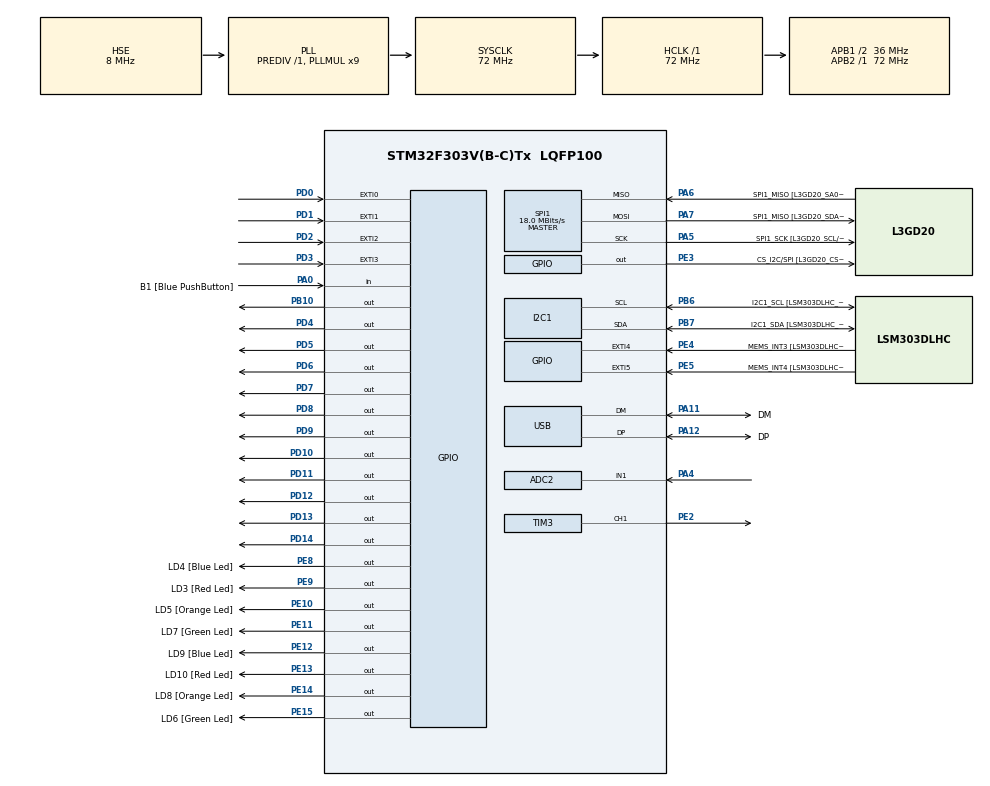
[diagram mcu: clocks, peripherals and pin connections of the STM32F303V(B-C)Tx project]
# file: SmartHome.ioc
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ADC2.Channel-0\#ChannelRegularConversion=ADC_CHANNEL_1
ADC2.NbrOfConversionFlag=1
ADC2.Offset-0\#ChannelRegularConversion=0
ADC2.OffsetNumber-0\#ChannelRegularConversion=ADC_OFFSET_NONE
ADC2.Rank-0\#ChannelRegularConversion=1
ADC2.SamplingTime-0\#ChannelRegularConversion=ADC_SAMPLETIME_601CYCLES_5
ADC2.SamplingTimeOPAMP-0\#ChannelRegularConversion=ADC_SAMPLETIME_61CYCLES_5
FREERTOS.Tasks01=defaultTask,0,128,StartDefaultTask,Default,NULL,Dynamic,NULL,NULL
I2C1.Timing-I2C=0x2000090E
Mcu.Family=STM32F3
Mcu.Name=STM32F303V(B-C)Tx
Mcu.Package=LQFP100
NVIC.ADC1_2_IRQn=true\:5\:0\:false\:false\:true\:true\:true\:true\:true
NVIC.EXTI0_IRQn=true\:5\:0\:false\:false\:true\:true\:true\:true\:true
NVIC.EXTI1_IRQn=true\:5\:0\:false\:false\:true\:true\:true\:true\:true
NVIC.EXTI2_TSC_IRQn=true\:5\:0\:false\:false\:true\:true\:true\:true\:true
NVIC.EXTI3_IRQn=true\:5\:0\:false\:false\:true\:true\:true\:true\:true
NVIC.PriorityGroup=NVIC_PRIORITYGROUP_4
NVIC.TIM3_IRQn=true\:5\:0\:false\:false\:true\:true\:true\:true\:true
PA0.GPIO_Label=B1 [Blue PushButton]
PA0.Signal=GPIO_Input
PA11.GPIO_Label=DM
PA11.Mode=Device
PA11.Signal=USB_DM
PA12.GPIO_Label=DP
PA12.Mode=Device
PA12.Signal=USB_DP
PA13.GPIO_Label=SWDIO
PA13.Mode=Serial_Wire
PA13.Signal=SYS_JTMS-SWDIO
PA14.GPIO_Label=SWCLK
PA14.Mode=Serial_Wire
PA14.Signal=SYS_JTCK-SWCLK
PA4.Mode=IN1-Single-Ended
PA4.Signal=ADC2_IN1
PA5.GPIO_Label=SPI1_SCK [L3GD20_SCL/SPC]
PA5.Mode=Full_Duplex_Master
PA5.Signal=SPI1_SCK
PA6.GPIO_Label=SPI1_MISO [L3GD20_SA0/SDO]
PA6.Mode=Full_Duplex_Master
PA6.Signal=SPI1_MISO
PA7.GPIO_Label=SPI1_MISO [L3GD20_SDA/SDI/SDO]
PA7.Mode=Full_Duplex_Master
PA7.Signal=SPI1_MOSI
PB10.Signal=GPIO_Output
PB3.GPIO_Label=SWO
PB3.Signal=SYS_JTDO-TRACESWO
PB6.GPIO_Label=I2C1_SCL [LSM303DLHC_SCL]
PB6.GPIO_Pu=GPIO_PULLUP
PB6.Mode=I2C
PB6.Signal=I2C1_SCL
PB7.GPIO_Label=I2C1_SDA [LSM303DLHC_SDA]
PB7.GPIO_Pu=GPIO_PULLUP
PB7.Mode=I2C
PB7.Signal=I2C1_SDA
PC14-OSC32_IN.GPIO_Label=OSC32_IN
PC14-OSC32_IN.Signal=RCC_OSC32_IN
PC15-OSC32_OUT.GPIO_Label=OSC32_OUT
PC15-OSC32_OUT.Signal=RCC_OSC32_OUT
PD0.GPIO_PuPd=GPIO_PULLDOWN
PD0.Signal=GPXTI0
PD1.GPIO_PuPd=GPIO_PULLDOWN
PD1.Signal=GPXTI1
PD10.Signal=GPIO_Output
PD11.Signal=GPIO_Output
PD12.Signal=GPIO_Output
PD13.Signal=GPIO_Output
PD14.Signal=GPIO_Output
PD2.GPIO_PuPd=GPIO_PULLDOWN
PD2.Signal=GPXTI2
PD3.GPIO_PuPd=GPIO_PULLDOWN
PD3.Signal=GPXTI3
PD4.Signal=GPIO_Output
PD5.Signal=GPIO_Output
PD6.Signal=GPIO_Output
PD7.Signal=GPIO_Output
PD8.Signal=GPIO_Output
PD9.Signal=GPIO_Output
PE10.GPIO_Label=LD5 [Orange Led]
PE10.Signal=GPIO_Output
PE11.GPIO_Label=LD7 [Green Led]
PE11.Signal=GPIO_Output
PE12.GPIO_Label=LD9 [Blue Led]
PE12.Signal=GPIO_Output
PE13.GPIO_Label=LD10 [Red Led]
PE13.Signal=GPIO_Output
PE14.GPIO_Label=LD8 [Orange Led]
PE14.Signal=GPIO_Output
PE15.GPIO_Label=LD6 [Green Led]
PE15.Signal=GPIO_Output
PE2.Signal=S_TIM3_CH1
PE3.GPIO_Label=CS_I2C/SPI [L3GD20_CS_I2C/SPI]
PE3.Signal=GPIO_Output
PE4.GPIO_Label=MEMS_INT3 [LSM303DLHC_INT1]
PE4.GPIO_ModeDefaultEXTI=GPIO_MODE_EVT_RISING
PE4.Signal=GPXTI4
PE5.GPIO_Label=MEMS_INT4 [LSM303DLHC_INT2]
PE5.GPIO_ModeDefaultEXTI=GPIO_MODE_EVT_RISING
PE5.Signal=GPXTI5
PE8.GPIO_Label=LD4 [Blue Led]
PE8.Signal=GPIO_Output
PE9.GPIO_Label=LD3 [Red Led]
PE9.Signal=GPIO_Output
PF0-OSC_IN.GPIO_Label=OSC_IN
PF0-OSC_IN.Mode=HSE-External-Clock-Source
PF0-OSC_IN.Signal=RCC_OSC_IN
PF1-OSC_OUT.GPIO_Label=OSC_OUT
PF1-OSC_OUT.Signal=RCC_OSC_OUT
ProjectManager.HeapSize=0x200
ProjectManager.StackSize=0x400
ProjectManager.TargetToolchain=STM32CubeIDE
RCC.AHBFreq_Value=72000000
RCC.APB1CLKDivider=RCC_HCLK_DIV2
RCC.APB1Freq_Value=36000000
RCC.APB1TimFreq_Value=72000000
RCC.APB2Freq_Value=72000000
RCC.APB2TimFreq_Value=72000000
RCC.CortexFreq_Value=72000000
RCC.HCLKFreq_Value=72000000
RCC.HSE_VALUE=8000000
RCC.HSI_VALUE=8000000
RCC.LSE_VALUE=32768
RCC.PLLMUL=RCC_PLL_MUL9
RCC.PRESCALERUSB=RCC_USBCLKSOURCE_PLL_DIV1_5
RCC.SYSCLKFreq_VALUE=72000000
RCC.SYSCLKSourceVirtual=RCC_SYSCLKSOURCE_PLLCLK
RCC.USBFreq_Value=48000000
SH.S_TIM3_CH1.0=TIM3_CH1,PWM Generation1 CH1
SPI1.BaudRatePrescaler=SPI_BAUDRATEPRESCALER_4
SPI1.BaudRatePrescaler-Full_Duplex_Master=SPI_BAUDRATEPRESCALER_2
SPI1.CalculateBaudRate=18.0 MBits/s
SPI1.CalculateBaudRate-Full_Duplex_Master=24.0 MBits/s
SPI1.Direction=SPI_DIRECTION_2LINES
SPI1.Mode=SPI_MODE_MASTER
SPI1.Mode-Full_Duplex_Master=SPI_MODE_MASTER
SPI1.VirtualType=VM_MASTER
TIM3.Channel-PWM\ Generation1\ CH1=TIM_CHANNEL_1
VP_FREERTOS_VS_CMSIS_V1.Mode=CMSIS_V1
board=STM32F3DISCOVERY

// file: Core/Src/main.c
/* USER CODE BEGIN Header */
/**
  ******************************************************************************
  * @file           : main.c
  * @brief          : Main program body
  ******************************************************************************
  * @attention
  *
  * Copyright (c) 2023 STMicroelectronics.
  * All rights reserved.
  *
  * This software is licensed under terms that can be found in the LICENSE file
  * in the root directory of this software component.
  * If no LICENSE file comes with this software, it is provided AS-IS.
  *
  ******************************************************************************
  */
/* USER CODE END Header */
#include "main.h"
#include "cmsis_os.h"

/* USER CODE BEGIN Includes */
#include "LiquidCrystal.h"
/* USER CODE END Includes */

/* USER CODE BEGIN PTD */
#define ToneTime 2000
#define MaxSampleCount 64
/* USER CODE END PTD */

ADC_HandleTypeDef hadc2;

I2C_HandleTypeDef hi2c1;

SPI_HandleTypeDef hspi1;

TIM_HandleTypeDef htim3;

PCD_HandleTypeDef hpcd_USB_FS;

osThreadId defaultTaskHandle;
/* USER CODE BEGIN PV */
TIM_HandleTypeDef *buzzerPwmTimer;
uint32_t buzzerPwmChannel;

int playing = 0;
int volume = 500;

uint32_t temp_tresh = 28;
uint32_t period_start = 0;
uint16_t current_square_tone = 0;

uint32_t temp_data[MaxSampleCount] = { 0 };
uint32_t temp = 0;
int temp_position = 0;

int menu = 0;

int lm35_active = 1;
int pir_active = 1;
/* USER CODE END PV */

void SystemClock_Config(void);
static void MX_GPIO_Init(void);
static void MX_I2C1_Init(void);
static void MX_SPI1_Init(void);
static void MX_USB_PCD_Init(void);
static void MX_TIM3_Init(void);
static void MX_ADC2_Init(void);
void StartDefaultTask(void const * argument);

/* USER CODE BEGIN 0 */
GPIO_TypeDef *const Row_ports[] = {GPIOD, GPIOD, GPIOD, GPIOD};
const uint16_t Row_pins[] = {GPIO_PIN_0, GPIO_PIN_1, GPIO_PIN_2, GPIO_PIN_3};
GPIO_TypeDef *const Column_ports[] = {GPIOD, GPIOD, GPIOD, GPIOD};
const uint16_t Column_pins[] = {GPIO_PIN_4, GPIO_PIN_5, GPIO_PIN_6, GPIO_PIN_7};
volatile uint32_t last_gpio_exti;

void HAL_GPIO_EXTI_Callback(uint16_t GPIO_Pin)
{
  if (last_gpio_exti + 200 > HAL_GetTick()) // Simple button de-bouncing
  {
    return;
  }
  last_gpio_exti = HAL_GetTick();

  int8_t row_number = -1;
  int8_t column_number = -1;

  if (GPIO_Pin == GPIO_PIN_0)
  {
    // blue_button_pressed = 1;
    // return;
  }

  for (uint8_t row = 0; row < 4; row++) // Loop through Rows
  {
    if (GPIO_Pin == Row_pins[row])
    {
      row_number = row;
    }
  }

  HAL_GPIO_WritePin(Column_ports[0], Column_pins[0], 0);
  HAL_GPIO_WritePin(Column_ports[1], Column_pins[1], 0);
  HAL_GPIO_WritePin(Column_ports[2], Column_pins[2], 0);
  HAL_GPIO_WritePin(Column_ports[3], Column_pins[3], 0);

  for (uint8_t col = 0; col < 4; col++) // Loop through Columns
  {
    HAL_GPIO_WritePin(Column_ports[col], Column_pins[col], 1);
    int x = HAL_GPIO_ReadPin(Row_ports[row_number], Row_pins[row_number]);
    if (x != 0)
    {
      column_number = col;
    }
    HAL_GPIO_WritePin(Column_ports[col], Column_pins[col], 0);
  }

  HAL_GPIO_WritePin(Column_ports[0], Column_pins[0], 1);
  HAL_GPIO_WritePin(Column_ports[1], Column_pins[1], 1);
  HAL_GPIO_WritePin(Column_ports[2], Column_pins[2], 1);
  HAL_GPIO_WritePin(Column_ports[3], Column_pins[3], 1);

  if (row_number == -1 || column_number == -1)
  {
    return; // Reject invalid scan
  }
  //   C0   C1   C2   C3
  // +----+----+----+----+
  // | 1  | 2  | 3  | 4  |  R0
  // +----+----+----+----+
  // | 5  | 6  | 7  | 8  |  R1
  // +----+----+----+----+
  // | 9  | 10 | 11 | 12 |  R2
  // +----+----+----+----+
  // | 13 | 14 | 15 | 16 |  R3
  // +----+----+----+----+
  const uint8_t button_number = row_number * 4 + column_number + 1;
  switch (button_number)
  {
  case 1:
    /* code */
	menu = 1;
    break;
  case 2:
    /* code */
	menu = 2;
    break;
  case 3:
    /* code */
	menu = 3;
    break;
  case 4:
    /* code */
	menu = 4;
    break;
  case 5:
    /* code */
	menu = 5;
    break;
  case 6:
    /* code */
    break;
  case 7:
    /* code */
    break;
  case 8:
    /* code */
    break;
  case 9:
    /* code */
    break;
  case 10:
    /* code */
    break;
  case 11:
    /* code */
    break;
  case 12:
    /* code */
    break;
  case 13:
    /* code */
    break;
  case 14:
    /* code */
    break;
  case 15:
    /* code */
    break;
  case 16:
    /* code */
    break;

  default:
    break;
  }
}

void buzzerInit() {
	buzzerPwmTimer = &htim3;
	buzzerPwmChannel = TIM_CHANNEL_1;
	HAL_TIM_PWM_Start(buzzerPwmTimer, buzzerPwmChannel);
}

void buzzerChangeTone(uint16_t freq, uint16_t volume) {
	if (freq == 0 || freq > 20000) {
		__HAL_TIM_SET_COMPARE(buzzerPwmTimer, buzzerPwmChannel, 0);
	} else {
		const uint32_t internalClockFreq = HAL_RCC_GetSysClockFreq();
		const uint32_t prescaler = 1 + internalClockFreq / freq / 60000;
		const uint32_t timerClock = internalClockFreq / prescaler;
		const uint32_t periodCycles = timerClock / freq;
		const uint32_t pulseWidth = volume * periodCycles / 1000 / 2;

		buzzerPwmTimer->Instance->PSC = prescaler - 1;
		buzzerPwmTimer->Instance->ARR = periodCycles - 1;
		buzzerPwmTimer->Instance->EGR = TIM_EGR_UG;

		__HAL_TIM_SET_COMPARE(buzzerPwmTimer, buzzerPwmChannel, pulseWidth);
	}
}

void playTone() {
	if (!playing)
		playing = 1;

	buzzerChangeTone(2000, 2000);
}

uint32_t getAvgOf64Array(uint32_t *data) {
	uint32_t res = 0;
	for (int i = 0; i < MaxSampleCount; i++)
		res += data[i];
	return res >> 6;
}

void HAL_ADC_ConvCpltCallback(ADC_HandleTypeDef *hadc) {
	if (hadc->Instance == ADC2) {
		uint32_t value = HAL_ADC_GetValue(&hadc2);
		uint32_t new_temp = (value * 3300 / 40950);
		if (new_temp >= 0 && new_temp <= 99) {
			temp_data[temp_position] = new_temp;
			temp = getAvgOf64Array(temp_data);
			temp_position = (temp_position + 1) % MaxSampleCount;
		}
		HAL_ADC_Start_IT(&hadc2);
	}
}
/* USER CODE END 0 */

int main(void)
{

  /* MCU Configuration--------------------------------------------------------*/

  /* Reset of all peripherals, Initializes the Flash interface and the Systick. */
  HAL_Init();

  /* Configure the system clock */
  SystemClock_Config();

  /* Initialize all configured peripherals */
  MX_GPIO_Init();
  MX_I2C1_Init();
  MX_SPI1_Init();
  MX_USB_PCD_Init();
  MX_TIM3_Init();
  MX_ADC2_Init();
  /* USER CODE BEGIN 2 */
  HAL_ADC_Start_IT(&hadc2);

  buzzerInit();
  /* USER CODE END 2 */

  /* Create the thread(s) */
  /* definition and creation of defaultTask */
  osThreadDef(defaultTask, StartDefaultTask, osPriorityNormal, 0, 128);
  defaultTaskHandle = osThreadCreate(osThread(defaultTask), NULL);

  /* Start scheduler */
  osKernelStart();

  /* We should never get here as control is now taken by the scheduler */
  /* Infinite loop */
  while (1)
  {

  }
}

void SystemClock_Config(void)
{
  RCC_OscInitTypeDef RCC_OscInitStruct = {0};
  RCC_ClkInitTypeDef RCC_ClkInitStruct = {0};
  RCC_PeriphCLKInitTypeDef PeriphClkInit = {0};

  /** Initializes the RCC Oscillators according to the specified parameters
  * in the RCC_OscInitTypeDef structure.
  */
  RCC_OscInitStruct.OscillatorType = RCC_OSCILLATORTYPE_HSI|RCC_OSCILLATORTYPE_HSE;
  RCC_OscInitStruct.HSEState = RCC_HSE_BYPASS;
  RCC_OscInitStruct.HSEPredivValue = RCC_HSE_PREDIV_DIV1;
  RCC_OscInitStruct.HSIState = RCC_HSI_ON;
  RCC_OscInitStruct.HSICalibrationValue = RCC_HSICALIBRATION_DEFAULT;
  RCC_OscInitStruct.PLL.PLLState = RCC_PLL_ON;
  RCC_OscInitStruct.PLL.PLLSource = RCC_PLLSOURCE_HSE;
  RCC_OscInitStruct.PLL.PLLMUL = RCC_PLL_MUL9;
  if (HAL_RCC_OscConfig(&RCC_OscInitStruct) != HAL_OK)
  {
    Error_Handler();
  }

  /** Initializes the CPU, AHB and APB buses clocks
  */
  RCC_ClkInitStruct.ClockType = RCC_CLOCKTYPE_HCLK|RCC_CLOCKTYPE_SYSCLK
                              |RCC_CLOCKTYPE_PCLK1|RCC_CLOCKTYPE_PCLK2;
  RCC_ClkInitStruct.SYSCLKSource = RCC_SYSCLKSOURCE_PLLCLK;
  RCC_ClkInitStruct.AHBCLKDivider = RCC_SYSCLK_DIV1;
  RCC_ClkInitStruct.APB1CLKDivider = RCC_HCLK_DIV2;
  RCC_ClkInitStruct.APB2CLKDivider = RCC_HCLK_DIV1;

  if (HAL_RCC_ClockConfig(&RCC_ClkInitStruct, FLASH_LATENCY_2) != HAL_OK)
  {
    Error_Handler();
  }
  PeriphClkInit.PeriphClockSelection = RCC_PERIPHCLK_USB|RCC_PERIPHCLK_I2C1
                              |RCC_PERIPHCLK_ADC12;
  PeriphClkInit.Adc12ClockSelection = RCC_ADC12PLLCLK_DIV1;
  PeriphClkInit.I2c1ClockSelection = RCC_I2C1CLKSOURCE_HSI;
  PeriphClkInit.USBClockSelection = RCC_USBCLKSOURCE_PLL_DIV1_5;
  if (HAL_RCCEx_PeriphCLKConfig(&PeriphClkInit) != HAL_OK)
  {
    Error_Handler();
  }
}

static void MX_ADC2_Init(void)
{

  ADC_ChannelConfTypeDef sConfig = {0};

  /** Common config
  */
  hadc2.Instance = ADC2;
  hadc2.Init.ClockPrescaler = ADC_CLOCK_ASYNC_DIV1;
  hadc2.Init.Resolution = ADC_RESOLUTION_12B;
  hadc2.Init.ScanConvMode = ADC_SCAN_DISABLE;
  hadc2.Init.ContinuousConvMode = DISABLE;
  hadc2.Init.DiscontinuousConvMode = DISABLE;
  hadc2.Init.ExternalTrigConvEdge = ADC_EXTERNALTRIGCONVEDGE_NONE;
  hadc2.Init.ExternalTrigConv = ADC_SOFTWARE_START;
  hadc2.Init.DataAlign = ADC_DATAALIGN_RIGHT;
  hadc2.Init.NbrOfConversion = 1;
  hadc2.Init.DMAContinuousRequests = DISABLE;
  hadc2.Init.EOCSelection = ADC_EOC_SINGLE_CONV;
  hadc2.Init.LowPowerAutoWait = DISABLE;
  hadc2.Init.Overrun = ADC_OVR_DATA_OVERWRITTEN;
  if (HAL_ADC_Init(&hadc2) != HAL_OK)
  {
    Error_Handler();
  }

  /** Configure Regular Channel
  */
  sConfig.Channel = ADC_CHANNEL_1;
  sConfig.Rank = ADC_REGULAR_RANK_1;
  sConfig.SingleDiff = ADC_SINGLE_ENDED;
  sConfig.SamplingTime = ADC_SAMPLETIME_601CYCLES_5;
  sConfig.OffsetNumber = ADC_OFFSET_NONE;
  sConfig.Offset = 0;
  if (HAL_ADC_ConfigChannel(&hadc2, &sConfig) != HAL_OK)
  {
    Error_Handler();
  }

}

static void MX_I2C1_Init(void)
{

  hi2c1.Instance = I2C1;
  hi2c1.Init.Timing = 0x2000090E;
  hi2c1.Init.OwnAddress1 = 0;
  hi2c1.Init.AddressingMode = I2C_ADDRESSINGMODE_7BIT;
  hi2c1.Init.DualAddressMode = I2C_DUALADDRESS_DISABLE;
  hi2c1.Init.OwnAddress2 = 0;
  hi2c1.Init.OwnAddress2Masks = I2C_OA2_NOMASK;
  hi2c1.Init.GeneralCallMode = I2C_GENERALCALL_DISABLE;
  hi2c1.Init.NoStretchMode = I2C_NOSTRETCH_DISABLE;
  if (HAL_I2C_Init(&hi2c1) != HAL_OK)
  {
    Error_Handler();
  }

  /** Configure Analogue filter
  */
  if (HAL_I2CEx_ConfigAnalogFilter(&hi2c1, I2C_ANALOGFILTER_ENABLE) != HAL_OK)
  {
    Error_Handler();
  }

  /** Configure Digital filter
  */
  if (HAL_I2CEx_ConfigDigitalFilter(&hi2c1, 0) != HAL_OK)
  {
    Error_Handler();
  }

}

static void MX_SPI1_Init(void)
{

  /* SPI1 parameter configuration*/
  hspi1.Instance = SPI1;
  hspi1.Init.Mode = SPI_MODE_MASTER;
  hspi1.Init.Direction = SPI_DIRECTION_2LINES;
  hspi1.Init.DataSize = SPI_DATASIZE_4BIT;
  hspi1.Init.CLKPolarity = SPI_POLARITY_LOW;
  hspi1.Init.CLKPhase = SPI_PHASE_1EDGE;
  hspi1.Init.NSS = SPI_NSS_SOFT;
  hspi1.Init.BaudRatePrescaler = SPI_BAUDRATEPRESCALER_4;
  hspi1.Init.FirstBit = SPI_FIRSTBIT_MSB;
  hspi1.Init.TIMode = SPI_TIMODE_DISABLE;
  hspi1.Init.CRCCalculation = SPI_CRCCALCULATION_DISABLE;
  hspi1.Init.CRCPolynomial = 7;
  hspi1.Init.CRCLength = SPI_CRC_LENGTH_DATASIZE;
  hspi1.Init.NSSPMode = SPI_NSS_PULSE_ENABLE;
  if (HAL_SPI_Init(&hspi1) != HAL_OK)
  {
    Error_Handler();
  }

}

static void MX_TIM3_Init(void)
{

  TIM_MasterConfigTypeDef sMasterConfig = {0};
  TIM_OC_InitTypeDef sConfigOC = {0};

  htim3.Instance = TIM3;
  htim3.Init.Prescaler = 0;
  htim3.Init.CounterMode = TIM_COUNTERMODE_UP;
  htim3.Init.Period = 65535;
  htim3.Init.ClockDivision = TIM_CLOCKDIVISION_DIV1;
  htim3.Init.AutoReloadPreload = TIM_AUTORELOAD_PRELOAD_DISABLE;
  if (HAL_TIM_PWM_Init(&htim3) != HAL_OK)
  {
    Error_Handler();
  }
  sMasterConfig.MasterOutputTrigger = TIM_TRGO_RESET;
  sMasterConfig.MasterSlaveMode = TIM_MASTERSLAVEMODE_DISABLE;
  if (HAL_TIMEx_MasterConfigSynchronization(&htim3, &sMasterConfig) != HAL_OK)
  {
    Error_Handler();
  }
  sConfigOC.OCMode = TIM_OCMODE_PWM1;
  sConfigOC.Pulse = 0;
  sConfigOC.OCPolarity = TIM_OCPOLARITY_HIGH;
  sConfigOC.OCFastMode = TIM_OCFAST_DISABLE;
  if (HAL_TIM_PWM_ConfigChannel(&htim3, &sConfigOC, TIM_CHANNEL_1) != HAL_OK)
  {
    Error_Handler();
  }
  HAL_TIM_MspPostInit(&htim3);

}

static void MX_USB_PCD_Init(void)
{

  hpcd_USB_FS.Instance = USB;
  hpcd_USB_FS.Init.dev_endpoints = 8;
  hpcd_USB_FS.Init.speed = PCD_SPEED_FULL;
  hpcd_USB_FS.Init.phy_itface = PCD_PHY_EMBEDDED;
  hpcd_USB_FS.Init.low_power_enable = DISABLE;
  hpcd_USB_FS.Init.battery_charging_enable = DISABLE;
  if (HAL_PCD_Init(&hpcd_USB_FS) != HAL_OK)
  {
    Error_Handler();
  }

}

static void MX_GPIO_Init(void)
{
  GPIO_InitTypeDef GPIO_InitStruct = {0};

  /* GPIO Ports Clock Enable */
  __HAL_RCC_GPIOE_CLK_ENABLE();
  __HAL_RCC_GPIOC_CLK_ENABLE();
  __HAL_RCC_GPIOF_CLK_ENABLE();
  __HAL_RCC_GPIOA_CLK_ENABLE();
  __HAL_RCC_GPIOB_CLK_ENABLE();
  __HAL_RCC_GPIOD_CLK_ENABLE();

  /*Configure GPIO pin Output Level */
  HAL_GPIO_WritePin(GPIOE, CS_I2C_SPI_Pin|LD4_Pin|LD3_Pin|LD5_Pin
                          |LD7_Pin|LD9_Pin|LD10_Pin|LD8_Pin
                          |LD6_Pin, GPIO_PIN_RESET);

  /*Configure GPIO pin Output Level */
  HAL_GPIO_WritePin(GPIOB, GPIO_PIN_10, GPIO_PIN_RESET);

  /*Configure GPIO pin Output Level */
  HAL_GPIO_WritePin(GPIOD, GPIO_PIN_8|GPIO_PIN_9|GPIO_PIN_10|GPIO_PIN_11
                          |GPIO_PIN_12|GPIO_PIN_13|GPIO_PIN_14|GPIO_PIN_4
                          |GPIO_PIN_5|GPIO_PIN_6|GPIO_PIN_7, GPIO_PIN_RESET);

  /*Configure GPIO pins : CS_I2C_SPI_Pin LD4_Pin LD3_Pin LD5_Pin
                           LD7_Pin LD9_Pin LD10_Pin LD8_Pin
                           LD6_Pin */
  GPIO_InitStruct.Pin = CS_I2C_SPI_Pin|LD4_Pin|LD3_Pin|LD5_Pin
                          |LD7_Pin|LD9_Pin|LD10_Pin|LD8_Pin
                          |LD6_Pin;
  GPIO_InitStruct.Mode = GPIO_MODE_OUTPUT_PP;
  GPIO_InitStruct.Pull = GPIO_NOPULL;
  GPIO_InitStruct.Speed = GPIO_SPEED_FREQ_LOW;
  HAL_GPIO_Init(GPIOE, &GPIO_InitStruct);

  /*Configure GPIO pins : MEMS_INT3_Pin MEMS_INT4_Pin */
  GPIO_InitStruct.Pin = MEMS_INT3_Pin|MEMS_INT4_Pin;
  GPIO_InitStruct.Mode = GPIO_MODE_EVT_RISING;
  GPIO_InitStruct.Pull = GPIO_NOPULL;
  HAL_GPIO_Init(GPIOE, &GPIO_InitStruct);

  /*Configure GPIO pin : B1_Pin */
  GPIO_InitStruct.Pin = B1_Pin;
  GPIO_InitStruct.Mode = GPIO_MODE_INPUT;
  GPIO_InitStruct.Pull = GPIO_NOPULL;
  HAL_GPIO_Init(B1_GPIO_Port, &GPIO_InitStruct);

  /*Configure GPIO pin : PB10 */
  GPIO_InitStruct.Pin = GPIO_PIN_10;
  GPIO_InitStruct.Mode = GPIO_MODE_OUTPUT_PP;
  GPIO_InitStruct.Pull = GPIO_NOPULL;
  GPIO_InitStruct.Speed = GPIO_SPEED_FREQ_LOW;
  HAL_GPIO_Init(GPIOB, &GPIO_InitStruct);

  /*Configure GPIO pins : PD8 PD9 PD10 PD11
                           PD12 PD13 PD14 PD4
                           PD5 PD6 PD7 */
  GPIO_InitStruct.Pin = GPIO_PIN_8|GPIO_PIN_9|GPIO_PIN_10|GPIO_PIN_11
                          |GPIO_PIN_12|GPIO_PIN_13|GPIO_PIN_14|GPIO_PIN_4
                          |GPIO_PIN_5|GPIO_PIN_6|GPIO_PIN_7;
  GPIO_InitStruct.Mode = GPIO_MODE_OUTPUT_PP;
  GPIO_InitStruct.Pull = GPIO_NOPULL;
  GPIO_InitStruct.Speed = GPIO_SPEED_FREQ_LOW;
  HAL_GPIO_Init(GPIOD, &GPIO_InitStruct);

  /*Configure GPIO pins : PD0 PD1 PD2 PD3 */
  GPIO_InitStruct.Pin = GPIO_PIN_0|GPIO_PIN_1|GPIO_PIN_2|GPIO_PIN_3;
  GPIO_InitStruct.Mode = GPIO_MODE_IT_RISING;
  GPIO_InitStruct.Pull = GPIO_PULLDOWN;
  HAL_GPIO_Init(GPIOD, &GPIO_InitStruct);

  /* EXTI interrupt init*/
  HAL_NVIC_SetPriority(EXTI0_IRQn, 5, 0);
  HAL_NVIC_EnableIRQ(EXTI0_IRQn);

  HAL_NVIC_SetPriority(EXTI1_IRQn, 5, 0);
  HAL_NVIC_EnableIRQ(EXTI1_IRQn);

  HAL_NVIC_SetPriority(EXTI2_TSC_IRQn, 5, 0);
  HAL_NVIC_EnableIRQ(EXTI2_TSC_IRQn);

  HAL_NVIC_SetPriority(EXTI3_IRQn, 5, 0);
  HAL_NVIC_EnableIRQ(EXTI3_IRQn);

}

void StartDefaultTask(void const * argument)
{
  /* USER CODE BEGIN 5 */
	HAL_GPIO_WritePin(Column_ports[0], Column_pins[0], 1);
	HAL_GPIO_WritePin(Column_ports[1], Column_pins[1], 1);
	HAL_GPIO_WritePin(Column_ports[2], Column_pins[2], 1);
	HAL_GPIO_WritePin(Column_ports[3], Column_pins[3], 1);
  /* Infinite loop */
  for(;;)
  {
    osDelay(1);

    uint32_t now = HAL_GetTick();
    if (lm35_active == 1 && temp >= temp_tresh) {
    	playTone();

    } else if (playing) {
    	buzzerChangeTone(0, 0);
    	playing = 0;
    	period_start = now;
    }

    if(menu == 1){
    	// LM35 control
    } else if(menu == 2){
    	// PIR control
    } else if(menu == 3){
    	// LED control
    } else if(menu == 4){
    	// scenario control
    } else if(menu == 5){
    	// sleep control
    }

  }
  /* USER CODE END 5 */
}

void Error_Handler(void)
{
  __disable_irq();
  while (1)
  {
  }
}
